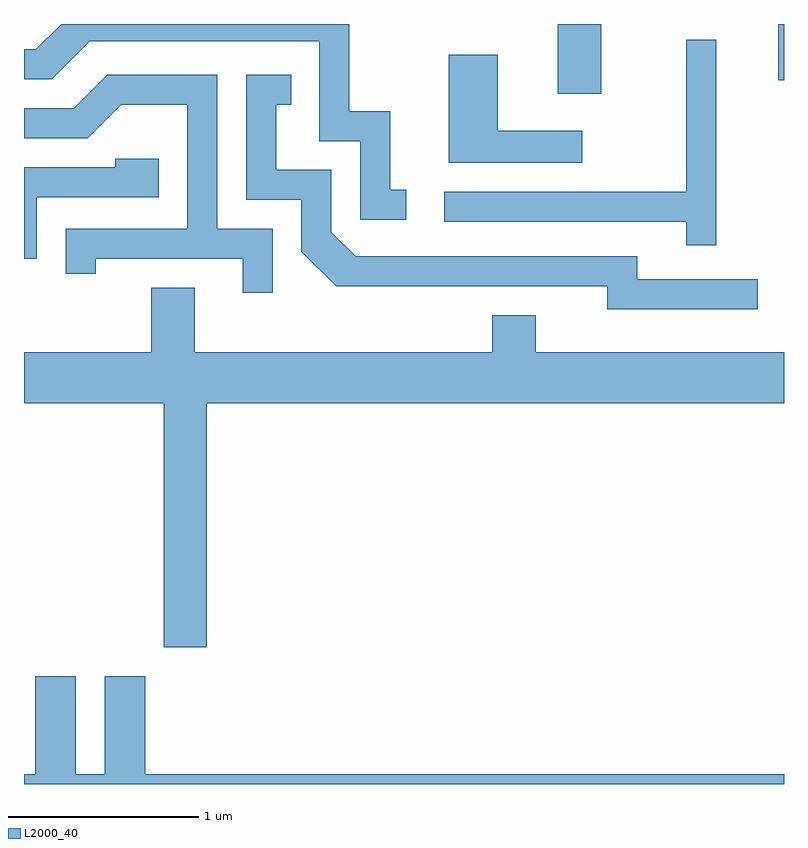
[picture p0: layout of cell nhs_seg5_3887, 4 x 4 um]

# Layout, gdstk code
import gdstk
lib = gdstk.Library(unit=1e-6, precision=1e-09)
def R(c, l, rs):  # rectangles x0, y0, x1, y1
    for r in rs: c.add(gdstk.rectangle(r[:2], r[2:], *l))
def P(c, l, *ps):  # polygons
    for p in ps: c.add(gdstk.Polygon(p, *l))
L2000_40 = (2000, 40)

nhs_seg5_3887 = lib.new_cell('nhs_seg5_3887')
R(nhs_seg5_3887, L2000_40, [(302.421,1511.706,302.649,1512.072), (303.581,1511.776,303.611,1512.072)])
P(nhs_seg5_3887, L2000_40, [(301.623,1511.199),(301.539,1511.199),(301.539,1511.614),(301.324,1511.614),(301.324,1512.072),(299.807,1512.072),(299.674,1511.939),(299.611,1511.939),(299.611,1511.781),(299.757,1511.781),(299.957,1511.981),(301.166,1511.981),(301.166,1511.456),(301.381,1511.456),(301.381,1511.041),(301.623,1511.041)],
  [(303.254,1511.988),(303.096,1511.988),(303.096,1511.189),(301.823,1511.189),(301.823,1511.031),(303.096,1511.031),(303.096,1510.908),(303.254,1510.908)],
  [(302.548,1511.509),(302.104,1511.509),(302.104,1511.909),(301.846,1511.909),(301.846,1511.341),(302.548,1511.341)],
  [(303.473,1510.729),(302.839,1510.729),(302.839,1510.849),(301.357,1510.849),(301.229,1510.977),(301.229,1511.304),(300.939,1511.304),(300.939,1511.646),(301.018,1511.646),(301.018,1511.804),(300.781,1511.804),(300.781,1511.146),(301.071,1511.146),(301.071,1510.874),(301.254,1510.691),(302.681,1510.691),(302.681,1510.571),(303.473,1510.571)],
  [(300.919,1510.994),(300.629,1510.994),(300.629,1511.804),(300.049,1511.804),(299.874,1511.629),(299.611,1511.629),(299.611,1511.471),(299.947,1511.471),(300.122,1511.646),(300.471,1511.646),(300.471,1510.994),(299.831,1510.994),(299.831,1510.758),(299.989,1510.758),(299.989,1510.836),(300.761,1510.836),(300.761,1510.658),(300.919,1510.658)],
  [(299.679,1511.161),(300.319,1511.161),(300.319,1511.364),(300.091,1511.364),(300.091,1511.319),(299.611,1511.319),(299.611,1510.836),(299.679,1510.836)],
  [(300.574,1510.076),(303.611,1510.076),(303.611,1510.344),(302.304,1510.344),(302.304,1510.539),(302.076,1510.539),(302.076,1510.344),(300.509,1510.344),(300.509,1510.684),(300.281,1510.684),(300.281,1510.344),(299.611,1510.344),(299.611,1510.076),(300.346,1510.076),(300.346,1508.791),(300.574,1508.791)],
  [(303.611,1508.124),(300.249,1508.124),(300.249,1508.639),(300.036,1508.639),(300.036,1508.124),(299.884,1508.124),(299.884,1508.639),(299.671,1508.639),(299.671,1508.124),(299.611,1508.124),(299.611,1508.072),(303.611,1508.072)])

lib.write_gds('nhs_seg5_3887.gds')
